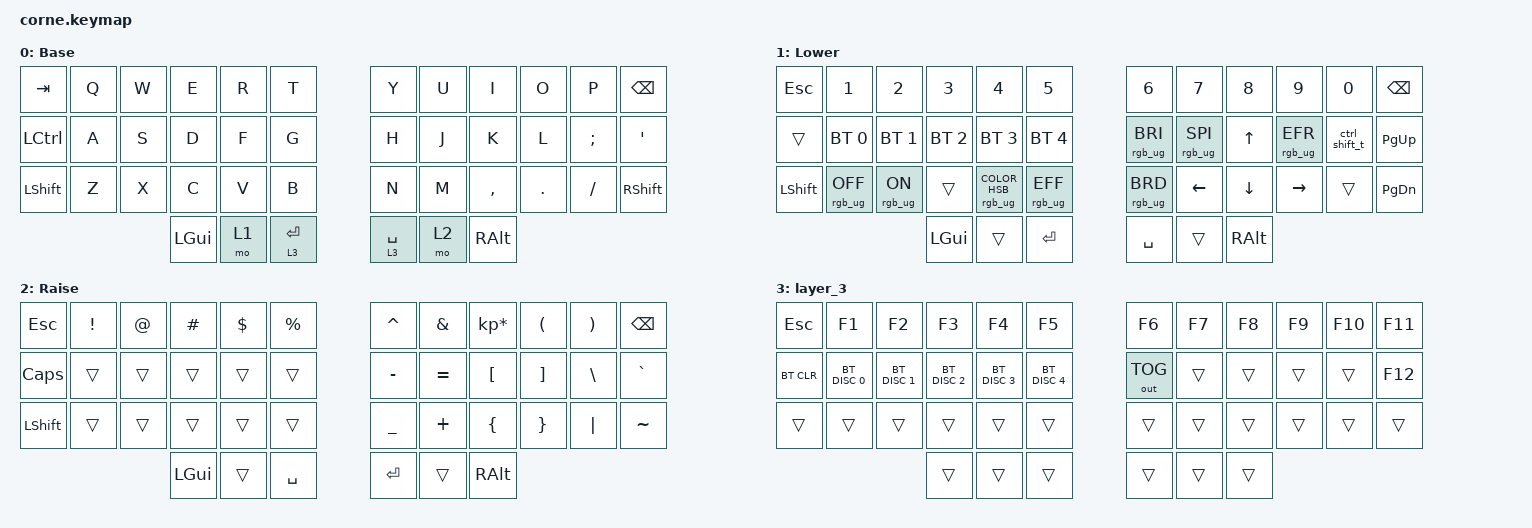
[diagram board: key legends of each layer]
/*
 * Copyright (c) 2020 The ZMK Contributors
 *
 * SPDX-License-Identifier: MIT
 */

#include <behaviors.dtsi>
#include <dt-bindings/zmk/bt.h>
#include <dt-bindings/zmk/keys.h>
#include <dt-bindings/zmk/outputs.h>
#include <dt-bindings/zmk/rgb.h>

/ {
    behaviors {
        rgb_encoder: rgb_encoder {
            compatible = "zmk,behavior-sensor-rotate";
            #sensor-binding-cells = <0>;
            bindings = <&rgb_ug RGB_BRI>, <&rgb_ug RGB_BRD>;
        };

        td0: td0 {
            compatible = "zmk,behavior-tap-dance";
            #binding-cells = <0>;
            bindings = <&kp LSHIFT>, <&kp CAPS>;
        };
    };

    macros {
        ctrl_shift_t: ctrl_shift_t {
            compatible = "zmk,behavior-macro";
            #binding-cells = <0>;
            bindings = <&kp LS(LC(T))>;
            label = "CTRL_SHIFT_T";
        };
    };

    keymap {
        compatible = "zmk,keymap";

        default_layer {
            // -----------------------------------------------------------------------------------------
            // |  TAB |  Q  |  W  |  E  |  R  |  T  |   |  Y  |  U   |  I  |  O  |  P  | BKSP |
            // | CTRL |  A  |  S  |  D  |  F  |  G  |   |  H  |  J   |  K  |  L  |  ;  |  '   |
            // | SHFT |  Z  |  X  |  C  |  V  |  B  |   |  N  |  M   |  ,  |  .  |  /  | ESC  |
            //                    | GUI | LWR | SPC |   | ENT | RSE  | ALT |

            display-name = "Base";
            bindings = <
&kp TAB    &kp Q  &kp W  &kp E     &kp R  &kp T          &kp Y        &kp U  &kp I      &kp O    &kp P     &kp BSPC
&kp LCTRL  &kp A  &kp S  &kp D     &kp F  &kp G          &kp H        &kp J  &kp K      &kp L    &kp SEMI  &kp SQT
&kp LSHFT  &kp Z  &kp X  &kp C     &kp V  &kp B          &kp N        &kp M  &kp COMMA  &kp DOT  &kp FSLH  &kp RIGHT_SHIFT
                         &kp LGUI  &mo 1  &lt 3 ENTER    &lt 3 SPACE  &mo 2  &kp RALT
            >;
        };

        lower_layer {
            // -----------------------------------------------------------------------------------------
            // |  TAB |  1  |  2  |  3  |  4  |  5  |   |  6  |  7  |  8  |  9  |  0  | BKSP |
            // | BTCLR| BT1 | BT2 | BT3 | BT4 | BT5 |   | LFT | DWN |  UP | RGT |     |      |
            // | SHFT |     |     |     |     |     |   |     |     |     |     |     |      |
            //                    | GUI |     | SPC |   | ENT |     | ALT |

            display-name = "Lower";
            bindings = <
&kp ESCAPE  &kp N1           &kp N2          &kp N3        &kp N4                            &kp N5             &kp N6           &kp N7           &kp N8          &kp N9           &kp N0         &kp BSPC
&trans      &bt BT_SEL 0     &bt BT_SEL 1    &bt BT_SEL 2  &bt BT_SEL 3                      &bt BT_SEL 4       &rgb_ug RGB_BRI  &rgb_ug RGB_SPI  &kp UP          &rgb_ug RGB_EFR  &ctrl_shift_t  &kp PG_UP
&kp LSHFT   &rgb_ug RGB_OFF  &rgb_ug RGB_ON  &trans        &rgb_ug RGB_COLOR_HSB(199,60,69)  &rgb_ug RGB_EFF    &rgb_ug RGB_BRD  &kp LEFT_ARROW   &kp DOWN_ARROW  &kp RIGHT_ARROW  &trans         &kp PAGE_DOWN
                                             &kp LGUI      &trans                            &kp ENTER          &kp SPACE        &trans           &kp RALT
            >;
        };

        raise_layer {
            // -----------------------------------------------------------------------------------------
            // |  TAB |  !  |  @  |  #  |  $  |  %  |   |  ^  |  &  |  *  |  (  |  )  | BKSP |
            // | CTRL |     |     |     |     |     |   |  -  |  =  |  [  |  ]  |  \  |  `   |
            // | SHFT |     |     |     |     |     |   |  _  |  +  |  {  |  }  | "|" |  ~   |
            //                    | GUI |     | SPC |   | ENT |     | ALT |

            display-name = "Raise";
            bindings = <
&kp ESCAPE    &kp EXCL  &kp AT  &kp HASH  &kp DLLR  &kp PRCNT    &kp CARET  &kp AMPS   &kp KP_MULTIPLY  &kp LPAR  &kp RPAR  &kp BSPC
&kp CAPSLOCK  &trans    &trans  &trans    &trans    &trans       &kp MINUS  &kp EQUAL  &kp LBKT         &kp RBKT  &kp BSLH  &kp GRAVE
&kp LSHFT     &trans    &trans  &trans    &trans    &trans       &kp UNDER  &kp PLUS   &kp LBRC         &kp RBRC  &kp PIPE  &kp TILDE
                                &kp LGUI  &trans    &kp SPACE    &kp RET    &trans     &kp RALT
            >;
        };

        layer_3 {
            bindings = <
&kp ESC     &kp F1         &kp F2         &kp F3         &kp F4         &kp F5           &kp F6        &kp F7  &kp F8  &kp F9  &kp F10  &kp F11
&bt BT_CLR  &bt BT_DISC 0  &bt BT_DISC 1  &bt BT_DISC 2  &bt BT_DISC 3  &bt BT_DISC 4    &out OUT_TOG  &trans  &trans  &trans  &trans   &kp F12
&trans      &trans         &trans         &trans         &trans         &trans           &trans        &trans  &trans  &trans  &trans   &trans
                                          &trans         &trans         &trans           &trans        &trans  &trans
            >;
        };

        extra_2 { status = "reserved"; };

        extra_3 { status = "reserved"; };
    };
};
